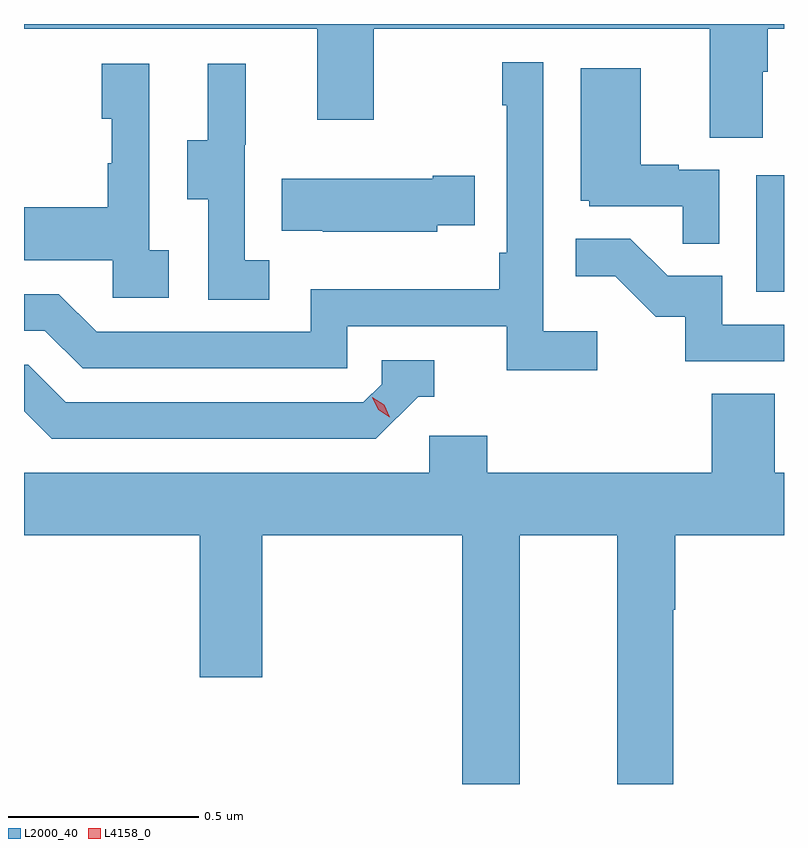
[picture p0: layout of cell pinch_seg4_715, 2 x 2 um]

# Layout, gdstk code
import gdstk
lib = gdstk.Library(unit=1e-6, precision=1e-09)
def R(c, l, rs):  # rectangles x0, y0, x1, y1
    for r in rs: c.add(gdstk.rectangle(r[:2], r[2:], *l))
def P(c, l, *ps):  # polygons
    for p in ps: c.add(gdstk.Polygon(p, *l))
L2000_40 = (2000, 40)
L4158_0 = (4158, 0)

pinch_seg4_715 = lib.new_cell('pinch_seg4_715')
R(pinch_seg4_715, L2000_40, [(1089.548,762.828,1089.621,763.135)])
P(pinch_seg4_715, L2000_40, [(1089.565,763.408),(1089.578,763.408),(1089.578,763.52),(1089.621,763.52),(1089.621,763.533),(1087.621,763.533),(1087.621,763.52),(1088.393,763.52),(1088.393,763.281),(1088.541,763.281),(1088.541,763.52),(1089.425,763.52),(1089.425,763.234),(1089.565,763.234)],
  [(1089.13,762.724),(1088.988,762.724),(1088.988,763.432),(1088.88,763.432),(1088.88,763.319),(1088.892,763.319),(1088.892,762.931),(1088.872,762.931),(1088.872,762.835),(1088.376,762.835),(1088.376,762.723),(1087.812,762.723),(1087.713,762.822),(1087.621,762.822),(1087.621,762.726),(1087.676,762.726),(1087.775,762.627),(1088.472,762.627),(1088.472,762.738),(1088.891,762.738),(1088.891,762.622),(1089.13,762.622)],
  [(1088.266,762.911),(1088.202,762.911),(1088.202,763.215),(1088.204,763.215),(1088.204,763.429),(1088.105,763.429),(1088.105,763.227),(1088.051,763.227),(1088.051,763.072),(1088.106,763.072),(1088.106,762.808),(1088.266,762.808)],
  [(1088.002,762.938),(1087.95,762.938),(1087.95,763.429),(1087.826,763.429),(1087.826,763.284),(1087.852,763.284),(1087.852,763.166),(1087.842,763.166),(1087.842,763.051),(1087.621,763.051),(1087.621,762.911),(1087.854,762.911),(1087.854,762.813),(1088.002,762.813)],
  [(1089.45,763.149),(1089.344,763.149),(1089.344,763.162),(1089.244,763.162),(1089.244,763.417),(1089.086,763.417),(1089.086,763.068),(1089.108,763.068),(1089.108,763.053),(1089.355,763.053),(1089.355,762.955),(1089.45,762.955)],
  [(1088.709,763.004),(1088.807,763.004),(1088.807,763.134),(1088.696,763.134),(1088.696,763.126),(1088.299,763.126),(1088.299,762.989),(1088.407,762.989),(1088.407,762.986),(1088.709,762.986)],
  [(1089.621,762.741),(1089.459,762.741),(1089.459,762.87),(1089.315,762.87),(1089.217,762.968),(1089.073,762.968),(1089.073,762.869),(1089.177,762.869),(1089.284,762.762),(1089.361,762.762),(1089.361,762.645),(1089.621,762.645)],
  [(1088.658,762.552),(1088.701,762.552),(1088.701,762.648),(1088.562,762.648),(1088.562,762.585),(1088.514,762.537),(1087.731,762.537),(1087.632,762.636),(1087.621,762.636),(1087.621,762.514),(1087.694,762.441),(1088.547,762.441)],
  [(1088.926,762.188),(1089.182,762.188),(1089.182,761.533),(1089.33,761.533),(1089.33,761.992),(1089.335,761.992),(1089.335,762.188),(1089.621,762.188),(1089.621,762.352),(1089.596,762.352),(1089.596,762.56),(1089.431,762.56),(1089.431,762.352),(1088.84,762.352),(1088.84,762.45),(1088.688,762.45),(1088.688,762.352),(1087.621,762.352),(1087.621,762.188),(1088.084,762.188),(1088.084,761.814),(1088.248,761.814),(1088.248,762.188),(1088.774,762.188),(1088.774,761.533),(1088.926,761.533)])
P(pinch_seg4_715, L4158_0, [(1088.584,762.498),(1088.553,762.518),(1088.538,762.551),(1088.538,762.551),(1088.538,762.551),(1088.569,762.531),(1088.584,762.498),(1088.584,762.498)])

lib.write_gds('pinch_seg4_715.gds')
